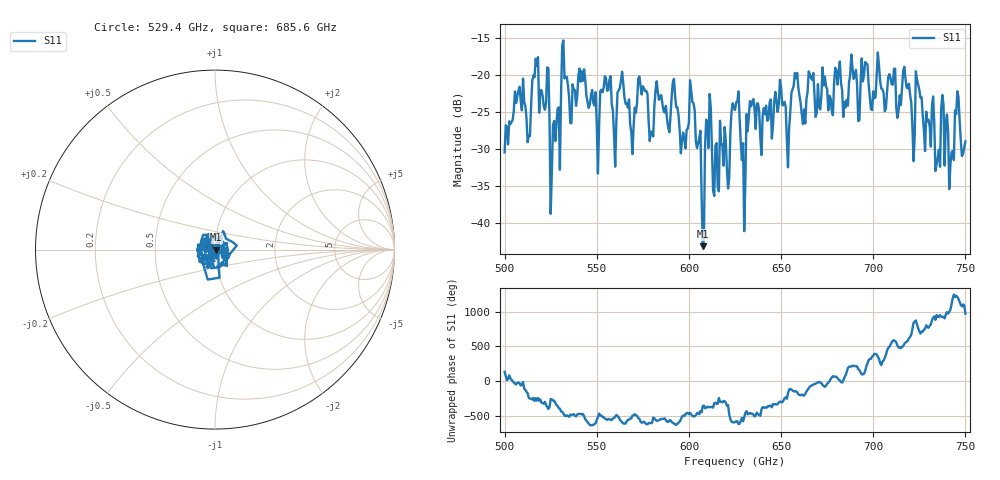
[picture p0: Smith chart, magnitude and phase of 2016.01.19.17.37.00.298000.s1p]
!Created with skrf (http://scikit-rf.org).
# GHz S RI R 50.0
!freq ReS11 ImS11
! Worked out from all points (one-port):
!   401 points, 500 GHz to 750 GHz, reference 50 ohm
!   lowest |S11| = -43.2 dB at 607.5 GHz (marker M1), VSWR 1.01, Z = 50.7 + j0.0199 ohm
!   |S11| at or under -10 dB: start of sweep to end of sweep
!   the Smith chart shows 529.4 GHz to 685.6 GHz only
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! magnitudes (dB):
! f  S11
! 500 GHz  -30.5
! 506.9 GHz  -22.8
! 513.1 GHz  -28.2
! 516.9 GHz  -17.8
! 526.2 GHz  -26.8
! 531.2 GHz  -16.0
! 550 GHz  -26.7
! 556.2 GHz  -22.1
! 559.4 GHz  -28.2
! 562.5 GHz  -21.8
! 569.4 GHz  -30.7
! 593.8 GHz  -24.4
! 601.9 GHz  -23.7
! 607.5 GHz  -43.2
! 610.6 GHz  -29.9
! 615 GHz  -29.2
! 625 GHz  -24.7
! 629.4 GHz  -29.2
! 633.8 GHz  -24.2
! 653.8 GHz  -32.5
! 656.2 GHz  -21.9
! 687.5 GHz  -19.9
! 718.8 GHz  -21.8
! 735 GHz  -31.2
! 738.1 GHz  -24.0
! 742.5 GHz  -30.4
! 745.6 GHz  -22.2
! 750 GHz  -29.0
